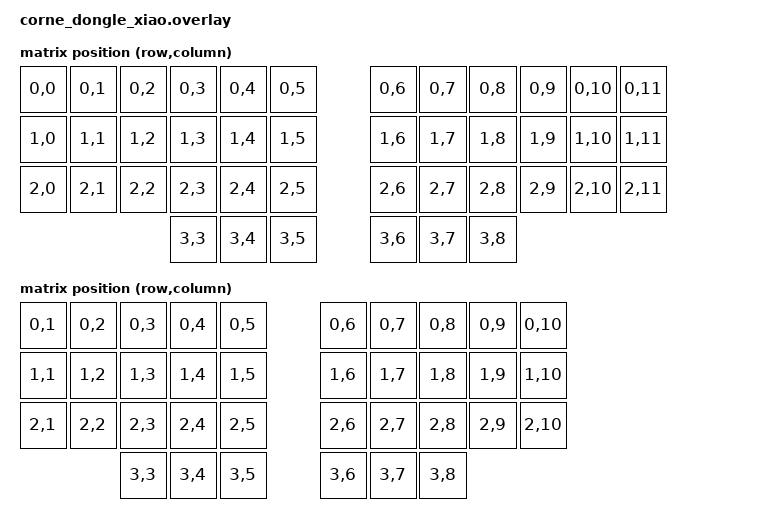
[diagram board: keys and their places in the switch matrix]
/*
 * Copyright (c) 2020 Pete Johanson
 *
 * SPDX-License-Identifier: MIT
 */

#include <dt-bindings/zmk/matrix_transform.h>

#include <layouts/foostan/corne/5column.dtsi>
#include <layouts/foostan/corne/6column.dtsi>

&foostan_corne_6col_layout {
    transform = <&default_transform>;
};

&foostan_corne_5col_layout {
    transform = <&five_column_transform>;
};

/ {
    chosen {
        zephyr,display = &oled;
        zmk,kscan = &mock_kscan;
        zmk,physical-layout = &foostan_corne_6col_layout;
    };

    default_transform: keymap_transform_0 {
        compatible = "zmk,matrix-transform";
        columns = <12>;
        rows = <4>;
// | SW1  | SW2  | SW3  | SW4  | SW5  | SW6  |   | SW6  | SW5  | SW4  | SW3  | SW2  | SW1  |
// | SW7  | SW8  | SW9  | SW10 | SW11 | SW12 |   | SW12 | SW11 | SW10 | SW9  | SW8  | SW7  |
// | SW13 | SW14 | SW15 | SW16 | SW17 | SW18 |   | SW18 | SW17 | SW16 | SW15 | SW14 | SW13 |
//                      | SW19 | SW20 | SW21 |   | SW21 | SW20 | SW19 |
        map = <
RC(0,0) RC(0,1) RC(0,2) RC(0,3) RC(0,4) RC(0,5)  RC(0,6) RC(0,7) RC(0,8) RC(0,9) RC(0,10) RC(0,11)
RC(1,0) RC(1,1) RC(1,2) RC(1,3) RC(1,4) RC(1,5)  RC(1,6) RC(1,7) RC(1,8) RC(1,9) RC(1,10) RC(1,11)
RC(2,0) RC(2,1) RC(2,2) RC(2,3) RC(2,4) RC(2,5)  RC(2,6) RC(2,7) RC(2,8) RC(2,9) RC(2,10) RC(2,11)
                        RC(3,3) RC(3,4) RC(3,5)  RC(3,6) RC(3,7) RC(3,8)
        >;
    };

    five_column_transform: keymap_transform_1 {
        compatible = "zmk,matrix-transform";
        columns = <10>;
        rows = <4>;
// | SW2  | SW3  | SW4  | SW5  | SW6  |   | SW6  | SW5  | SW4  | SW3  | SW2  |
// | SW8  | SW9  | SW10 | SW11 | SW12 |   | SW12 | SW11 | SW10 | SW9  | SW8  |
// | SW14 | SW15 | SW16 | SW17 | SW18 |   | SW18 | SW17 | SW16 | SW15 | SW14 |
//               | SW19 | SW20 | SW21 |   | SW21 | SW20 | SW19 |
        map = <
RC(0,1) RC(0,2) RC(0,3) RC(0,4) RC(0,5)  RC(0,6) RC(0,7) RC(0,8) RC(0,9) RC(0,10)
RC(1,1) RC(1,2) RC(1,3) RC(1,4) RC(1,5)  RC(1,6) RC(1,7) RC(1,8) RC(1,9) RC(1,10)
RC(2,1) RC(2,2) RC(2,3) RC(2,4) RC(2,5)  RC(2,6) RC(2,7) RC(2,8) RC(2,9) RC(2,10)
                        RC(3,3) RC(3,4) RC(3,5)  RC(3,6) RC(3,7) RC(3,8)
        >;
    };

    /*
        kscan0: kscan {
        compatible = "zmk,kscan-gpio-direct";

        input-gpios
            = <&xiao_d 0 (GPIO_ACTIVE_LOW | GPIO_PULL_UP)>
            , <&xiao_d 1 (GPIO_ACTIVE_LOW | GPIO_PULL_UP)>
            , <&xiao_d 2 (GPIO_ACTIVE_LOW | GPIO_PULL_UP)>
            , <&xiao_d 3 (GPIO_ACTIVE_LOW | GPIO_PULL_UP)>
            ;
    };
    */

    mock_kscan: kscan_0 {
        compatible = "zmk,kscan-mock";
        // wakeup-source;
        columns = <0>;
        rows = <0>;
        events = <0>;
    };
    // TODO: per-key RGB node(s)?
};

// 128x64 OLED
&xiao_i2c {
    status = "okay";

    oled: ssd1306@3c {
        compatible = "solomon,ssd1306fb";
        reg = <0x3c>;
        width = <128>;
        height = <64>;
        segment-offset = <0>;
        page-offset = <0>;
        display-offset = <0>;
        multiplex-ratio = <63>;
        segment-remap;
        com-invdir;
        inversion-on;
        prechargep = <0x22>;
    };
};

/*
// 128x64 OLED
&xiao_i2c {
    status = "okay";

    oled: ssd1306@3c {
        compatible = "solomon,ssd1306fb";
        reg = <0x3c>;
        width = <128>;
        height = <64>;
        segment-offset = <0>;
        page-offset = <0>;
        display-offset = <0>;
        multiplex-ratio = <63>;
        segment-remap;
        com-invdir;
        inversion-on;
        prechargep = <0x22>;
    };
};
// 128x32 OLED
&xiao_i2c {
    status = "okay";

    oled: ssd1306@3c {
        compatible = "solomon,ssd1306fb";
        reg = <0x3c>;
        width = <128>;
        height = <32>;
        segment-offset = <0>;
        page-offset = <0>;
        display-offset = <0>;
        multiplex-ratio = <31>;
        segment-remap;
        com-invdir;
        com-sequential;
        inversion-on;
        prechargep = <0x22>;
    };
};


// 128x64 OLED model sh1106

&xiao_i2c {
    status = "okay";
    oled: sh1106@3c {
        compatible = "sinowealth,sh1106";
        reg = <0x3c>;
        width = <129>;
        height = <64>;
        segment-offset = <1>;
        page-offset = <0>;
        display-offset = <0>;
        multiplex-ratio = <63>;
        segment-remap;
        com-invdir;
        inversion-on;
        prechargep = <0x22>;
        };
};

// 128x128 OLED model sh1107
&xiao_i2c {
    status = "okay";
    oled: sh1106@3c {
        compatible = "sinowealth,sh1106";
        reg = <0x3c>;
        width = <120>;
        height = <128>;
        segment-offset = <0>;
        page-offset = <0>;
        display-offset = <0>;
        multiplex-ratio = <119>;
        segment-remap;
        com-invdir;
        inversion-on;
        prechargep = <0x22>;
        };
};

// ################# niceview working fine START #################
// doc: https://wiki.seeedstudio.com/XIAO-SAMD21-Zephyr-RTOS/
// @bravekarma nice Discord server
// The &gpioX Y  and NRF_PSEL(..., X, Y) uses the PX.Y notation (underlying nRF
// pin numbers), &xiao_d x uses the unified pinout Dx

&pinctrl {
    spi0_default: spi0_default {
        group1 {
            psels = <NRF_PSEL(SPIM_SCK, 1, 13)>,
                    <NRF_PSEL(SPIM_MOSI, 1, 15)>,
                    <NRF_PSEL(SPIM_MISO, 1, 14)>;
        };
    };
    spi0_sleep: spi0_sleep {
        group1 {
            psels = <NRF_PSEL(SPIM_SCK, 1, 13)>,
                    <NRF_PSEL(SPIM_MOSI, 1, 15)>,
                    <NRF_PSEL(SPIM_MISO, 1, 14)>;
            low-power-enable;
        };
    };
};

nice_view_spi: &spi0 {
    compatible = "nordic,nrf-spim";
    pinctrl-0 = <&spi0_default>;
    pinctrl-1 = <&spi0_sleep>;
    pinctrl-names = "default", "sleep";
    cs-gpios = <&xiao_d 6 GPIO_ACTIVE_HIGH>;  // Pin D6 as CS
};

&xiao_i2c {
    status = "disabled";
};
// ################# niceview working fine END #################
*/
// vim: filetype=dts fdm=marker:
